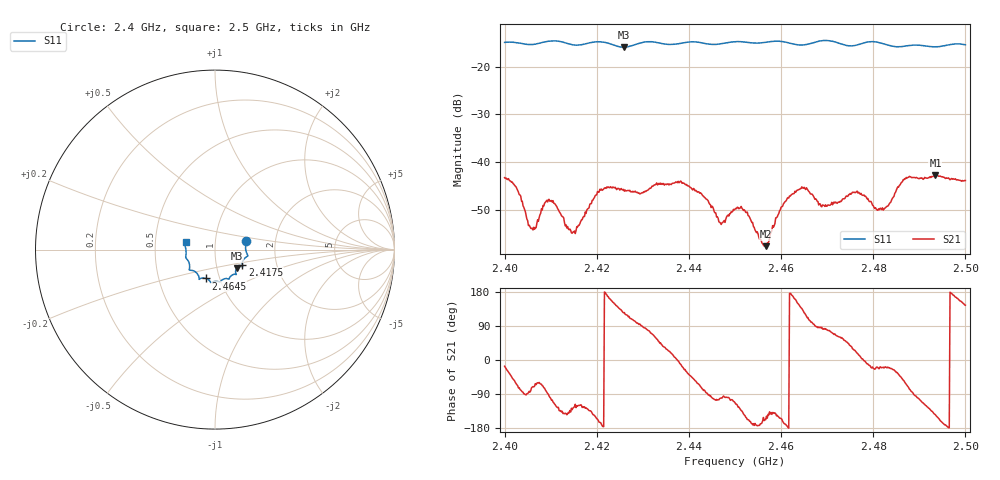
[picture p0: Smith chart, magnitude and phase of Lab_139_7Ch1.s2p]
# Hz S RI R 50
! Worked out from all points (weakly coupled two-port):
!   601 points, 2.4 GHz to 2.5 GHz, reference 50 ohm
!   highest |S21| = -42.74 dB at 2.4935 GHz (marker M1); lowest = -57.6 dB at 2.4567 GHz (marker M2)
!   lowest |S11| = -15.9 dB at 2.4258 GHz (marker M3), VSWR 1.38, Z = 62.3 - j13.2 ohm
!   |S11| at or under -10 dB: start of sweep to end of sweep
!   S12 and S22 are empty: the file has one direction only
!   S11 on the Smith chart (normalised r, x): 2.4 GHz: 1.41, +0.14; 2.4175 GHz: 1.34, -0.23; 2.4645 GHz: 0.86, -0.28; 2.5 GHz: 0.72, +0.06
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2.4e9  0.1728 0.0487  0.00662 -0.00195  0 0  0 0
2.403e9  0.1744 0.0342  0.00138 -0.00467  0 0  0 0
2.405667e9  0.1704 0.00591  0.000309 -0.00202  0 0  0 0
2.4095e9  0.182 -0.0312  -4.87e-05 -0.00407  0 0  0 0
2.414333e9  0.1639 -0.0495  -0.00143 -0.00132  0 0  0 0
2.416667e9  0.1528 -0.0739  -0.00121 -0.00218  0 0  0 0
2.4175e9  0.1517 -0.0833  -0.00183 -0.00239  0 0  0 0
2.420667e9  0.1541 -0.0974  -0.00503 -0.00139  0 0  0 0
2.425833e9  0.1219 -0.1032  -0.00295 0.00429  0 0  0 0
2.433333e9  0.1131 -0.1372  0.00377 0.0045  0 0  0 0
2.442167e9  0.0738 -0.164  0.00213 -0.00441  0 0  0 0
2.447e9  0.0405 -0.1688  -0.000397 -0.0022  0 0  0 0
2.45e9  0.0286 -0.1806  -0.00124 -0.00298  0 0  0 0
2.4525e9  0.0203 -0.179  -0.00265 -0.00136  0 0  0 0
2.456667e9  -0.0113 -0.1798  -0.00122 -0.000509  0 0  0 0
2.4605e9  -0.0255 -0.1808  -0.00354 -0.000947  0 0  0 0
2.4645e9  -0.0518 -0.1605  -0.00397 0.00385  0 0  0 0
2.466667e9  -0.0758 -0.1592  -0.000789 0.00459  0 0  0 0
2.483333e9  -0.1413 -0.0902  0.00334 -0.00125  0 0  0 0
2.487e9  -0.155 -0.0554  0.00321 -0.00589  0 0  0 0
2.4935e9  -0.1611 -0.00835  -0.00595 -0.00421  0 0  0 0
2.5e9  -0.1639 0.0433  -0.00525 0.00374  0 0  0 0
